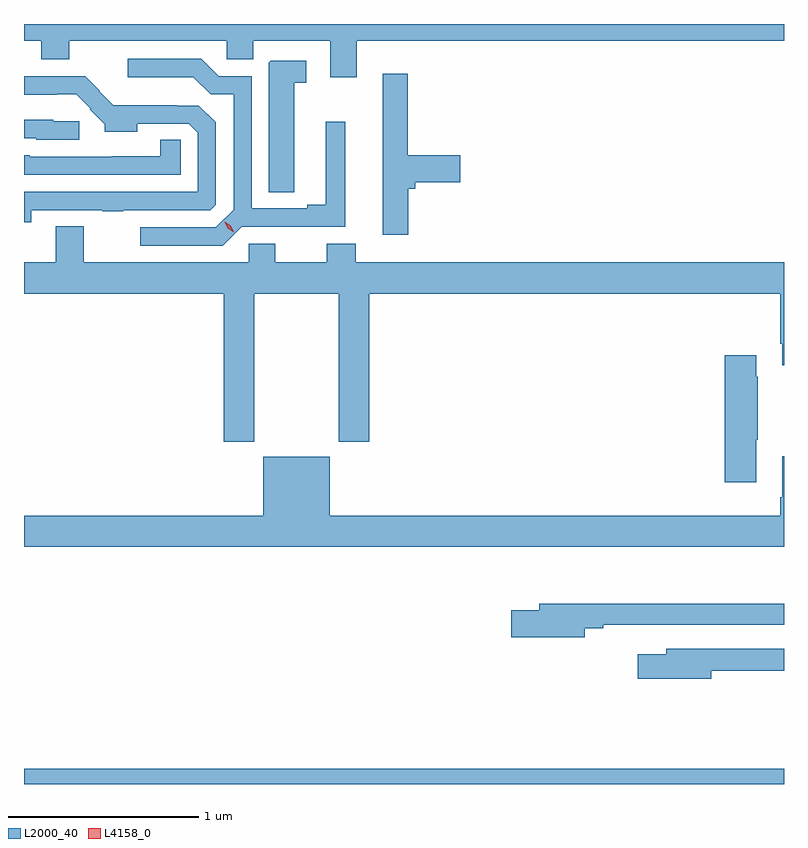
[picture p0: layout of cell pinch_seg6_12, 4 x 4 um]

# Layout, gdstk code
import gdstk
lib = gdstk.Library(unit=1e-6, precision=1e-09)
def R(c, l, rs):  # rectangles x0, y0, x1, y1
    for r in rs: c.add(gdstk.rectangle(r[:2], r[2:], *l))
def P(c, l, *ps):  # polygons
    for p in ps: c.add(gdstk.Polygon(p, *l))
L2000_40 = (2000, 40)
L4158_0 = (4158, 0)

pinch_seg6_12 = lib.new_cell('pinch_seg6_12')
R(pinch_seg6_12, L2000_40, [(951.094,983.383,955.094,983.464)])
P(pinch_seg6_12, L2000_40, [(951.094,987.296),(951.185,987.296),(951.185,987.197),(951.333,987.197),(951.333,987.296),(952.161,987.296),(952.161,987.198),(952.3,987.198),(952.3,987.296),(952.706,987.296),(952.706,987.102),(952.846,987.102),(952.846,987.296),(955.094,987.296),(955.094,987.383),(951.094,987.383)],
  [(952.24,986.316),(952.786,986.316),(952.786,986.869),(952.682,986.869),(952.682,986.432),(952.586,986.432),(952.586,986.412),(952.293,986.412),(952.293,987.108),(952.119,987.108),(952.026,987.201),(951.639,987.201),(951.639,987.104),(951.985,987.104),(952.076,987.013),(952.197,987.013),(952.197,986.406),(952.104,986.313),(951.705,986.313),(951.705,986.217),(952.141,986.217)],
  [(952.516,987.073),(952.579,987.073),(952.579,987.189),(952.392,987.189),(952.382,987.179),(952.382,986.497),(952.516,986.497)],
  [(953.117,986.515),(953.153,986.515),(953.153,986.551),(953.389,986.551),(953.389,986.693),(953.114,986.693),(953.114,987.121),(952.982,987.121),(952.982,986.274),(953.117,986.274)],
  [(951.132,986.403),(951.505,986.403),(951.505,986.398),(951.617,986.398),(951.617,986.403),(952.074,986.403),(952.104,986.433),(952.104,986.865),(952.015,986.954),(951.899,986.954),(951.899,986.956),(951.565,986.956),(951.491,987.029),(951.493,987.031),(951.417,987.108),(951.094,987.108),(951.094,987.011),(951.266,987.011),(951.266,987.014),(951.368,987.014),(951.444,986.937),(951.441,986.934),(951.52,986.856),(951.52,986.816),(951.691,986.816),(951.691,986.859),(951.96,986.859),(952.008,986.811),(952.008,986.499),(951.094,986.499),(951.094,986.34),(951.132,986.34)],
  [(951.384,986.871),(951.249,986.871),(951.249,986.878),(951.094,986.878),(951.094,986.781),(951.159,986.781),(951.159,986.775),(951.384,986.775)],
  [(951.918,986.774),(951.81,986.774),(951.81,986.686),(951.555,986.686),(951.555,986.685),(951.123,986.685),(951.123,986.692),(951.094,986.692),(951.094,986.589),(951.918,986.589)],
  [(952.305,985.964),(952.75,985.964),(952.75,985.185),(952.91,985.185),(952.91,985.964),(955.073,985.964),(955.073,985.699),(955.085,985.699),(955.085,985.587),(955.094,985.587),(955.094,986.128),(952.841,986.128),(952.841,986.227),(952.688,986.227),(952.688,986.128),(952.417,986.128),(952.417,986.226),(952.278,986.226),(952.278,986.128),(951.409,986.128),(951.409,986.318),(951.262,986.318),(951.262,986.128),(951.094,986.128),(951.094,985.964),(952.145,985.964),(952.145,985.185),(952.305,985.185)],
  [(954.949,985.195),(954.957,985.195),(954.957,985.526),(954.949,985.526),(954.949,985.639),(954.782,985.639),(954.782,984.972),(954.949,984.972)],
  [(955.094,985.108),(955.085,985.108),(955.085,984.892),(955.073,984.892),(955.073,984.796),(952.702,984.796),(952.702,985.105),(952.352,985.105),(952.352,984.796),(951.094,984.796),(951.094,984.632),(955.094,984.632)],
  [(954.046,984.202),(954.142,984.202),(954.142,984.221),(954.336,984.221),(954.336,984.222),(955.094,984.222),(955.094,984.331),(953.807,984.331),(953.807,984.297),(953.658,984.297),(953.658,984.155),(954.046,984.155)],
  [(954.712,983.98),(955.094,983.98),(955.094,984.096),(954.473,984.096),(954.473,984.067),(954.324,984.067),(954.324,983.938),(954.712,983.938)])
P(pinch_seg6_12, L4158_0, [(952.198,986.288),(952.167,986.309),(952.151,986.343),(952.151,986.343),(952.151,986.343),(952.182,986.322),(952.198,986.289),(952.198,986.288)])

lib.write_gds('pinch_seg6_12.gds')
